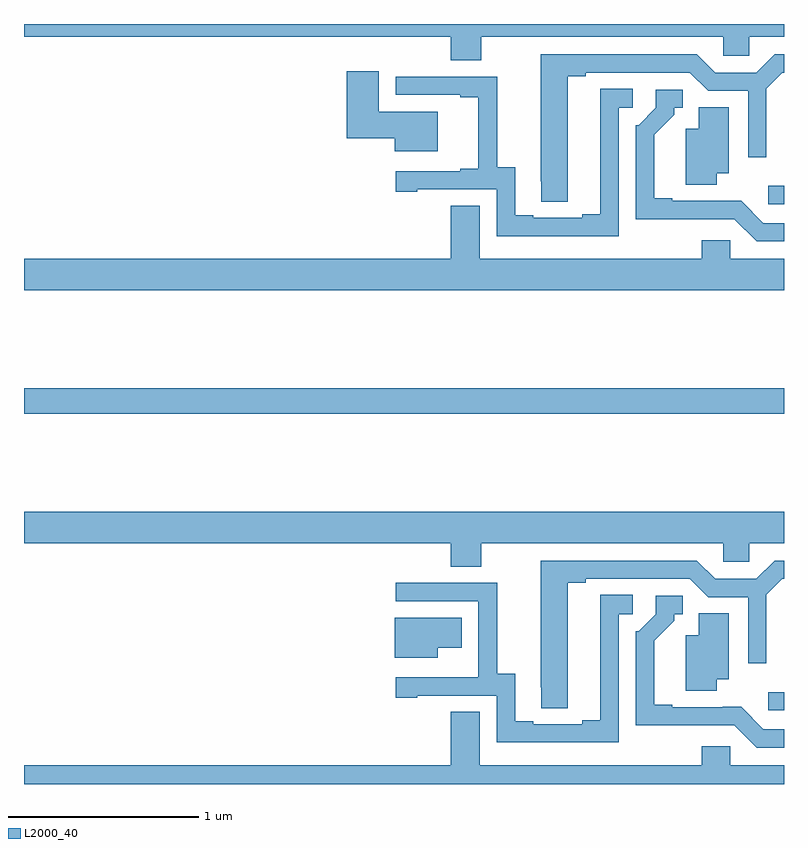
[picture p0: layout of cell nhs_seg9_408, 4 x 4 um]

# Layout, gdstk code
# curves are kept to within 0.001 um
import gdstk
lib = gdstk.Library(unit=1e-6, precision=1e-09)
def R(c, l, rs):  # rectangles x0, y0, x1, y1
    for r in rs: c.add(gdstk.rectangle(r[:2], r[2:], *l))
def P(c, l, *ps):  # polygons
    for p in ps: c.add(gdstk.Polygon(p, *l))
L2000_40 = (2000, 40)

nhs_seg9_408 = lib.new_cell('nhs_seg9_408')
R(nhs_seg9_408, L2000_40, [(134.916,1180.887,135,1180.984), (131,1182.448,135,1182.584), (134.916,1183.551,135,1183.648)])
P(nhs_seg9_408, L2000_40, [(133.407,1184.432),(134.679,1184.432),(134.679,1184.334),(134.817,1184.334),(134.817,1184.432),(135,1184.432),(135,1184.5),(131,1184.5),(131,1184.432),(133.247,1184.432),(133.247,1184.308),(133.407,1184.308)],
  [(133.861,1184.224),(133.957,1184.224),(133.957,1184.244),(134.505,1184.244),(134.601,1184.148),(134.811,1184.148),(134.811,1183.8),(134.907,1183.8),(134.907,1184.16),(134.991,1184.244),(135,1184.244),(135,1184.34),(134.951,1184.34),(134.855,1184.244),(134.637,1184.244),(134.541,1184.34),(133.721,1184.34),(133.722,1183.564),(133.861,1183.564)],
  [(133.177,1184.038),(132.868,1184.038),(132.868,1184.251),(132.698,1184.251),(132.698,1183.898),(132.95,1183.898),(132.95,1183.829),(133.177,1183.829)],
  [(134.13,1184.058),(134.203,1184.058),(134.203,1184.159),(134.033,1184.159),(134.033,1183.499),(133.937,1183.499),(133.937,1183.479),(133.681,1183.479),(133.681,1183.494),(133.585,1183.494),(133.585,1183.745),(133.491,1183.745),(133.491,1184.223),(132.957,1184.223),(132.957,1184.127),(133.295,1184.127),(133.295,1184.115),(133.391,1184.115),(133.391,1183.738),(133.295,1183.738),(133.295,1183.725),(132.957,1183.725),(132.957,1183.617),(133.069,1183.617),(133.069,1183.629),(133.488,1183.629),(133.488,1183.383),(134.13,1183.383)],
  [(135,1183.452),(134.892,1183.452),(134.774,1183.57),(134.413,1183.569),(134.413,1183.582),(134.317,1183.582),(134.317,1183.918),(134.422,1184.023),(134.422,1184.058),(134.467,1184.058),(134.467,1184.154),(134.325,1184.154),(134.325,1184.058),(134.235,1183.968),(134.22,1183.968),(134.22,1183.472),(134.739,1183.473),(134.856,1183.356),(135,1183.356)],
  [(134.647,1183.715),(134.71,1183.715),(134.71,1184.063),(134.552,1184.063),(134.552,1183.948),(134.483,1183.948),(134.483,1183.654),(134.647,1183.654)],
  [(135,1183.264),(134.718,1183.264),(134.718,1183.362),(134.567,1183.362),(134.567,1183.264),(133.399,1183.264),(133.399,1183.544),(133.247,1183.544),(133.247,1183.264),(131,1183.264),(131,1183.1),(135,1183.1)],
  [(133.407,1181.768),(134.679,1181.768),(134.679,1181.67),(134.817,1181.67),(134.817,1181.768),(135,1181.768),(135,1181.932),(131,1181.932),(131,1181.768),(133.247,1181.768),(133.247,1181.644),(133.407,1181.644)],
  [(133.861,1181.56),(133.957,1181.56),(133.957,1181.58),(134.505,1181.58),(134.601,1181.484),(134.811,1181.484),(134.811,1181.136),(134.907,1181.136),(134.907,1181.496),(134.991,1181.58),(135,1181.58),(135,1181.676),(134.951,1181.676),(134.855,1181.58),(134.637,1181.58),(134.541,1181.676),(133.721,1181.676),(133.722,1180.9),(133.861,1180.9)],
  [(134.13,1181.394),(134.203,1181.394),(134.203,1181.495),(134.033,1181.495),(134.033,1180.835),(133.937,1180.835),(133.937,1180.815),(133.681,1180.815),(133.681,1180.83),(133.585,1180.83),(133.585,1181.081),(133.491,1181.081),(133.491,1181.559),(132.957,1181.559),(132.957,1181.463),(133.392,1181.463),(133.392,1181.062),(133.391,1181.062),(133.391,1181.061),(132.957,1181.061),(132.957,1180.953),(133.069,1180.953),(133.069,1180.965),(133.488,1180.965),(133.488,1180.719),(134.13,1180.719)],
  [(135,1180.788),(134.892,1180.788),(134.774,1180.906),(134.413,1180.905),(134.413,1180.918),(134.317,1180.918),(134.317,1181.254),(134.422,1181.359),(134.422,1181.394),(134.467,1181.394),(134.467,1181.49),(134.325,1181.49),(134.325,1181.394),(134.235,1181.304),(134.22,1181.304),(134.22,1180.808),(134.739,1180.809),(134.856,1180.692),(135,1180.692)],
  [(134.647,1181.051),(134.71,1181.051),(134.71,1181.399),(134.552,1181.399),(134.552,1181.284),(134.483,1181.284),(134.483,1180.99),(134.647,1180.99)],
  [(133.177,1181.216),(133.303,1181.216),(133.303,1181.374),(132.95,1181.374),(132.95,1181.165),(133.177,1181.165)],
  [(135,1180.6),(134.718,1180.6),(134.718,1180.698),(134.567,1180.698),(134.567,1180.6),(133.399,1180.6),(133.399,1180.88),(133.247,1180.88),(133.247,1180.6),(131,1180.6),(131,1180.5),(135,1180.5)])

lib.write_gds('nhs_seg9_408.gds')
